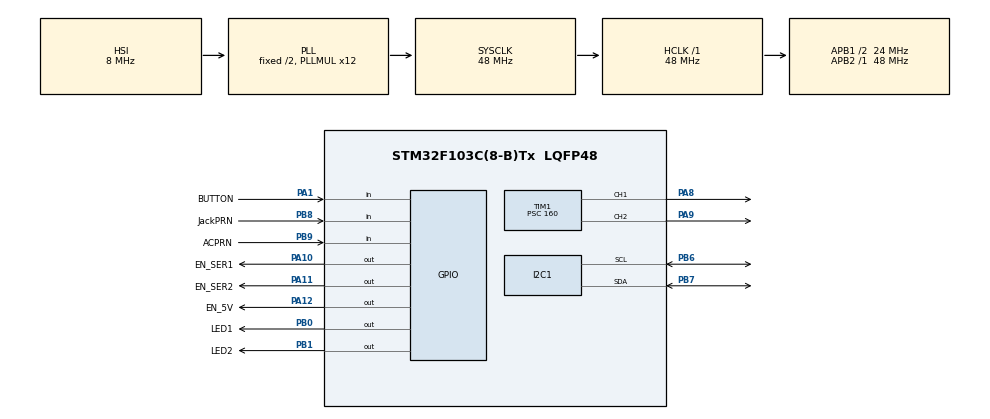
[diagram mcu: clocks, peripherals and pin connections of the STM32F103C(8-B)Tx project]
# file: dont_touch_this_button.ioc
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Mcu.Family=STM32F1
Mcu.Name=STM32F103C(8-B)Tx
Mcu.Package=LQFP48
NVIC.PriorityGroup=NVIC_PRIORITYGROUP_4
PA1.GPIO_Label=BUTTON
PA1.Signal=GPIO_Input
PA10.GPIO_Label=EN_SER1
PA10.Signal=GPIO_Output
PA11.GPIO_Label=EN_SER2
PA11.Signal=GPIO_Output
PA12.GPIO_Label=EN_5V
PA12.Signal=GPIO_Output
PA13.Signal=SYS_JTMS-SWDIO
PA14.Signal=SYS_JTCK-SWCLK
PA8.Signal=S_TIM1_CH1
PA9.Signal=S_TIM1_CH2
PB0.GPIO_Label=LED1
PB0.Signal=GPIO_Output
PB1.GPIO_Label=LED2
PB1.Signal=GPIO_Output
PB6.Mode=I2C
PB6.Signal=I2C1_SCL
PB7.Mode=I2C
PB7.Signal=I2C1_SDA
PB8.GPIO_Label=JackPRN
PB8.GPIO_PuPd=GPIO_PULLUP
PB8.Signal=GPIO_Input
PB9.GPIO_Label=ACPRN
PB9.GPIO_PuPd=GPIO_PULLUP
PB9.Signal=GPIO_Input
ProjectManager.HeapSize=0x200
ProjectManager.StackSize=0x400
ProjectManager.TargetToolchain=STM32CubeIDE
RCC.AHBFreq_Value=48000000
RCC.APB1CLKDivider=RCC_HCLK_DIV2
RCC.APB1Freq_Value=24000000
RCC.APB1TimFreq_Value=48000000
RCC.APB2Freq_Value=48000000
RCC.APB2TimFreq_Value=48000000
RCC.HCLKFreq_Value=48000000
RCC.PLLMUL=RCC_PLL_MUL12
RCC.SYSCLKFreq_VALUE=48000000
RCC.SYSCLKSource=RCC_SYSCLKSOURCE_PLLCLK
RCC.USBFreq_Value=48000000
SH.S_TIM1_CH1.0=TIM1_CH1,PWM Generation1 CH1
SH.S_TIM1_CH2.0=TIM1_CH2,PWM Generation2 CH2
TIM1.AutoReloadPreload=TIM_AUTORELOAD_PRELOAD_ENABLE
TIM1.BreakPolarity=TIM_BREAKPOLARITY_LOW
TIM1.Channel-PWM\ Generation1\ CH1=TIM_CHANNEL_1
TIM1.Channel-PWM\ Generation2\ CH2=TIM_CHANNEL_2
TIM1.OC1Preload_PWM=DISABLE
TIM1.OC2Preload_PWM=DISABLE
TIM1.OCMode_PWM-PWM\ Generation1\ CH1=TIM_OCMODE_PWM1
TIM1.OCPolarity_1=TIM_OCPOLARITY_LOW
TIM1.OCPolarity_2=TIM_OCPOLARITY_LOW
TIM1.Period=6000
TIM1.Prescaler=160
TIM1.Pulse-PWM\ Generation1\ CH1=620
TIM1.Pulse-PWM\ Generation2\ CH2=650
VP_SYS_VS_ND.Mode=No_Debug
VP_TIM1_VS_ClockSourceINT.Mode=Internal
board=custom

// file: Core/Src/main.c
/* USER CODE BEGIN Header */
/*            Don't Touch this Button          */
/**
  ******************************************************************************
  * @file           : main.c
  * @brief          : Main program body
  ******************************************************************************
  * @attention
  *
  * Copyright (c) 2024 STMicroelectronics.
  * All rights reserved.
  *
  * This software is licensed under terms that can be found in the LICENSE file
  * in the root directory of this software component.
  * If no LICENSE file comes with this software, it is provided AS-IS.
  *
  ******************************************************************************
  */
/* USER CODE END Header */
#include "main.h"

/* USER CODE BEGIN Includes */
#include "VL53L0X.h"
#include "stdlib.h"
#include "systick_timer.h"
#include "servo_scripts.h"

/* USER CODE END Includes */

I2C_HandleTypeDef hi2c1;

TIM_HandleTypeDef htim1;

void SystemClock_Config(void);
static void MX_GPIO_Init(void);
static void MX_I2C1_Init(void);
static void MX_TIM1_Init(void);

int main(void)
{

  /* MCU Configuration--------------------------------------------------------*/

  /* Reset of all peripherals, Initializes the Flash interface and the Systick. */
  HAL_Init();

  /* Configure the system clock */
  SystemClock_Config();

  /* Initialize all configured peripherals */
  MX_GPIO_Init();
  MX_I2C1_Init();
  MX_TIM1_Init();
  /* USER CODE BEGIN 2 */
	statInfo_t_VL53L0X distanceStr;
	uint16_t distance;
	uint16_t pulse1;
	//char msgBuffer[52];

	/*for(uint8_t i = 0; i < 52; i++){
		msgBuffer[i] = ' ';
	}*/

	// Initialise the VL53L0X
	initVL53L0X(1, &hi2c1);

	// Configure the sensor for high accuracy and speed in 20 cm.
	setSignalRateLimit(200);
	setVcselPulsePeriod(VcselPeriodPreRange, 10);
	setVcselPulsePeriod(VcselPeriodFinalRange, 14);
	setMeasurementTimingBudget(300 * 1000UL);

  /* USER CODE END 2 */

  /* Infinite loop */
  /* USER CODE BEGIN WHILE */

	HAL_GPIO_WritePin(GPIOA, EN_5V_Pin, GPIO_PIN_SET);
	HAL_GPIO_WritePin(EN_SER1_GPIO_Port, EN_SER1_Pin, GPIO_PIN_SET);
	HAL_GPIO_WritePin(EN_SER2_GPIO_Port, EN_SER2_Pin, GPIO_PIN_SET);
	HAL_TIM_PWM_Start(&htim1, TIM_CHANNEL_1);
	HAL_TIM_PWM_Start(&htim1, TIM_CHANNEL_2);

  while (1)
  {
    /* USER CODE END WHILE */

    /* USER CODE BEGIN 3 */
	HAL_GPIO_ReadPin(LED1_GPIO_Port, LED1_Pin) == GPIO_PIN_RESET ? HAL_GPIO_WritePin(LED1_GPIO_Port, LED1_Pin, GPIO_PIN_SET) : HAL_GPIO_WritePin(LED1_GPIO_Port, LED1_Pin, GPIO_PIN_RESET);
	//HAL_GPIO_ReadPin(GPIOB, ACPRN_Pin) == GPIO_PIN_RESET ? HAL_GPIO_WritePin(LED1_GPIO_Port, LED1_Pin, GPIO_PIN_SET) : HAL_GPIO_WritePin(LED1_GPIO_Port, LED1_Pin, GPIO_PIN_RESET);

	distance = readRangeSingleMillimeters(&distanceStr);
	//sprintf(msgBuffer, "Distance: %d\n", distance);
	//printf("Distance: %d\r\n", distance);		// TODO
	//HAL_UART_Transmit(&huart1, (uint8_t*) msgBuffer, sizeof(msgBuffer),50);

	pulse1 = distance;
	if(pulse1 < 200) pulse1 = 200;
	if(pulse1 > 650) pulse1 = 650;
	//htim1.Instance->CCR1 = pulse1;

	if (HAL_GPIO_ReadPin(BUTTON_GPIO_Port, BUTTON_Pin) == GPIO_PIN_SET) {
		HAL_GPIO_WritePin(LED1_GPIO_Port, LED1_Pin, GPIO_PIN_RESET);
		script(1);
		HAL_GPIO_WritePin(LED1_GPIO_Port, LED1_Pin, GPIO_PIN_SET);
	}

	clear_wait_ms_ch(channel0);
	while (!wait_ms_ch(channel0, 1000)) {}

  }
  /* USER CODE END 3 */
}

void SystemClock_Config(void)
{
  RCC_OscInitTypeDef RCC_OscInitStruct = {0};
  RCC_ClkInitTypeDef RCC_ClkInitStruct = {0};

  /** Initializes the RCC Oscillators according to the specified parameters
  * in the RCC_OscInitTypeDef structure.
  */
  RCC_OscInitStruct.OscillatorType = RCC_OSCILLATORTYPE_HSI;
  RCC_OscInitStruct.HSIState = RCC_HSI_ON;
  RCC_OscInitStruct.HSICalibrationValue = RCC_HSICALIBRATION_DEFAULT;
  RCC_OscInitStruct.PLL.PLLState = RCC_PLL_ON;
  RCC_OscInitStruct.PLL.PLLSource = RCC_PLLSOURCE_HSI_DIV2;
  RCC_OscInitStruct.PLL.PLLMUL = RCC_PLL_MUL12;
  if (HAL_RCC_OscConfig(&RCC_OscInitStruct) != HAL_OK)
  {
    Error_Handler();
  }

  /** Initializes the CPU, AHB and APB buses clocks
  */
  RCC_ClkInitStruct.ClockType = RCC_CLOCKTYPE_HCLK|RCC_CLOCKTYPE_SYSCLK
                              |RCC_CLOCKTYPE_PCLK1|RCC_CLOCKTYPE_PCLK2;
  RCC_ClkInitStruct.SYSCLKSource = RCC_SYSCLKSOURCE_PLLCLK;
  RCC_ClkInitStruct.AHBCLKDivider = RCC_SYSCLK_DIV1;
  RCC_ClkInitStruct.APB1CLKDivider = RCC_HCLK_DIV2;
  RCC_ClkInitStruct.APB2CLKDivider = RCC_HCLK_DIV1;

  if (HAL_RCC_ClockConfig(&RCC_ClkInitStruct, FLASH_LATENCY_1) != HAL_OK)
  {
    Error_Handler();
  }
}

static void MX_I2C1_Init(void)
{

  hi2c1.Instance = I2C1;
  hi2c1.Init.ClockSpeed = 100000;
  hi2c1.Init.DutyCycle = I2C_DUTYCYCLE_2;
  hi2c1.Init.OwnAddress1 = 0;
  hi2c1.Init.AddressingMode = I2C_ADDRESSINGMODE_7BIT;
  hi2c1.Init.DualAddressMode = I2C_DUALADDRESS_DISABLE;
  hi2c1.Init.OwnAddress2 = 0;
  hi2c1.Init.GeneralCallMode = I2C_GENERALCALL_DISABLE;
  hi2c1.Init.NoStretchMode = I2C_NOSTRETCH_DISABLE;
  if (HAL_I2C_Init(&hi2c1) != HAL_OK)
  {
    Error_Handler();
  }

}

static void MX_TIM1_Init(void)
{

  TIM_ClockConfigTypeDef sClockSourceConfig = {0};
  TIM_MasterConfigTypeDef sMasterConfig = {0};
  TIM_OC_InitTypeDef sConfigOC = {0};
  TIM_BreakDeadTimeConfigTypeDef sBreakDeadTimeConfig = {0};

  htim1.Instance = TIM1;
  htim1.Init.Prescaler = 160;
  htim1.Init.CounterMode = TIM_COUNTERMODE_UP;
  htim1.Init.Period = 6000;
  htim1.Init.ClockDivision = TIM_CLOCKDIVISION_DIV1;
  htim1.Init.RepetitionCounter = 0;
  htim1.Init.AutoReloadPreload = TIM_AUTORELOAD_PRELOAD_ENABLE;
  if (HAL_TIM_Base_Init(&htim1) != HAL_OK)
  {
    Error_Handler();
  }
  sClockSourceConfig.ClockSource = TIM_CLOCKSOURCE_INTERNAL;
  if (HAL_TIM_ConfigClockSource(&htim1, &sClockSourceConfig) != HAL_OK)
  {
    Error_Handler();
  }
  if (HAL_TIM_PWM_Init(&htim1) != HAL_OK)
  {
    Error_Handler();
  }
  sMasterConfig.MasterOutputTrigger = TIM_TRGO_RESET;
  sMasterConfig.MasterSlaveMode = TIM_MASTERSLAVEMODE_DISABLE;
  if (HAL_TIMEx_MasterConfigSynchronization(&htim1, &sMasterConfig) != HAL_OK)
  {
    Error_Handler();
  }
  sConfigOC.OCMode = TIM_OCMODE_PWM1;
  sConfigOC.Pulse = 620;
  sConfigOC.OCPolarity = TIM_OCPOLARITY_LOW;
  sConfigOC.OCNPolarity = TIM_OCNPOLARITY_HIGH;
  sConfigOC.OCFastMode = TIM_OCFAST_DISABLE;
  sConfigOC.OCIdleState = TIM_OCIDLESTATE_RESET;
  sConfigOC.OCNIdleState = TIM_OCNIDLESTATE_RESET;
  if (HAL_TIM_PWM_ConfigChannel(&htim1, &sConfigOC, TIM_CHANNEL_1) != HAL_OK)
  {
    Error_Handler();
  }
  __HAL_TIM_DISABLE_OCxPRELOAD(&htim1, TIM_CHANNEL_1);
  sConfigOC.Pulse = 650;
  if (HAL_TIM_PWM_ConfigChannel(&htim1, &sConfigOC, TIM_CHANNEL_2) != HAL_OK)
  {
    Error_Handler();
  }
  __HAL_TIM_DISABLE_OCxPRELOAD(&htim1, TIM_CHANNEL_2);
  sBreakDeadTimeConfig.OffStateRunMode = TIM_OSSR_DISABLE;
  sBreakDeadTimeConfig.OffStateIDLEMode = TIM_OSSI_DISABLE;
  sBreakDeadTimeConfig.LockLevel = TIM_LOCKLEVEL_OFF;
  sBreakDeadTimeConfig.DeadTime = 0;
  sBreakDeadTimeConfig.BreakState = TIM_BREAK_DISABLE;
  sBreakDeadTimeConfig.BreakPolarity = TIM_BREAKPOLARITY_LOW;
  sBreakDeadTimeConfig.AutomaticOutput = TIM_AUTOMATICOUTPUT_DISABLE;
  if (HAL_TIMEx_ConfigBreakDeadTime(&htim1, &sBreakDeadTimeConfig) != HAL_OK)
  {
    Error_Handler();
  }
  HAL_TIM_MspPostInit(&htim1);

}

static void MX_GPIO_Init(void)
{
  GPIO_InitTypeDef GPIO_InitStruct = {0};

  /* GPIO Ports Clock Enable */
  __HAL_RCC_GPIOA_CLK_ENABLE();
  __HAL_RCC_GPIOB_CLK_ENABLE();

  /*Configure GPIO pin Output Level */
  HAL_GPIO_WritePin(GPIOB, LED1_Pin|LED2_Pin, GPIO_PIN_RESET);

  /*Configure GPIO pin Output Level */
  HAL_GPIO_WritePin(GPIOA, EN_SER1_Pin|EN_SER2_Pin|EN_5V_Pin, GPIO_PIN_RESET);

  /*Configure GPIO pin : BUTTON_Pin */
  GPIO_InitStruct.Pin = BUTTON_Pin;
  GPIO_InitStruct.Mode = GPIO_MODE_INPUT;
  GPIO_InitStruct.Pull = GPIO_NOPULL;
  HAL_GPIO_Init(BUTTON_GPIO_Port, &GPIO_InitStruct);

  /*Configure GPIO pins : LED1_Pin LED2_Pin */
  GPIO_InitStruct.Pin = LED1_Pin|LED2_Pin;
  GPIO_InitStruct.Mode = GPIO_MODE_OUTPUT_PP;
  GPIO_InitStruct.Pull = GPIO_NOPULL;
  GPIO_InitStruct.Speed = GPIO_SPEED_FREQ_LOW;
  HAL_GPIO_Init(GPIOB, &GPIO_InitStruct);

  /*Configure GPIO pins : EN_SER1_Pin EN_SER2_Pin EN_5V_Pin */
  GPIO_InitStruct.Pin = EN_SER1_Pin|EN_SER2_Pin|EN_5V_Pin;
  GPIO_InitStruct.Mode = GPIO_MODE_OUTPUT_PP;
  GPIO_InitStruct.Pull = GPIO_NOPULL;
  GPIO_InitStruct.Speed = GPIO_SPEED_FREQ_LOW;
  HAL_GPIO_Init(GPIOA, &GPIO_InitStruct);

  /*Configure GPIO pins : JackPRN_Pin ACPRN_Pin */
  GPIO_InitStruct.Pin = JackPRN_Pin|ACPRN_Pin;
  GPIO_InitStruct.Mode = GPIO_MODE_INPUT;
  GPIO_InitStruct.Pull = GPIO_PULLUP;
  HAL_GPIO_Init(GPIOB, &GPIO_InitStruct);

}

void Error_Handler(void)
{
  __disable_irq();
  while (1)
  {
  }
}
